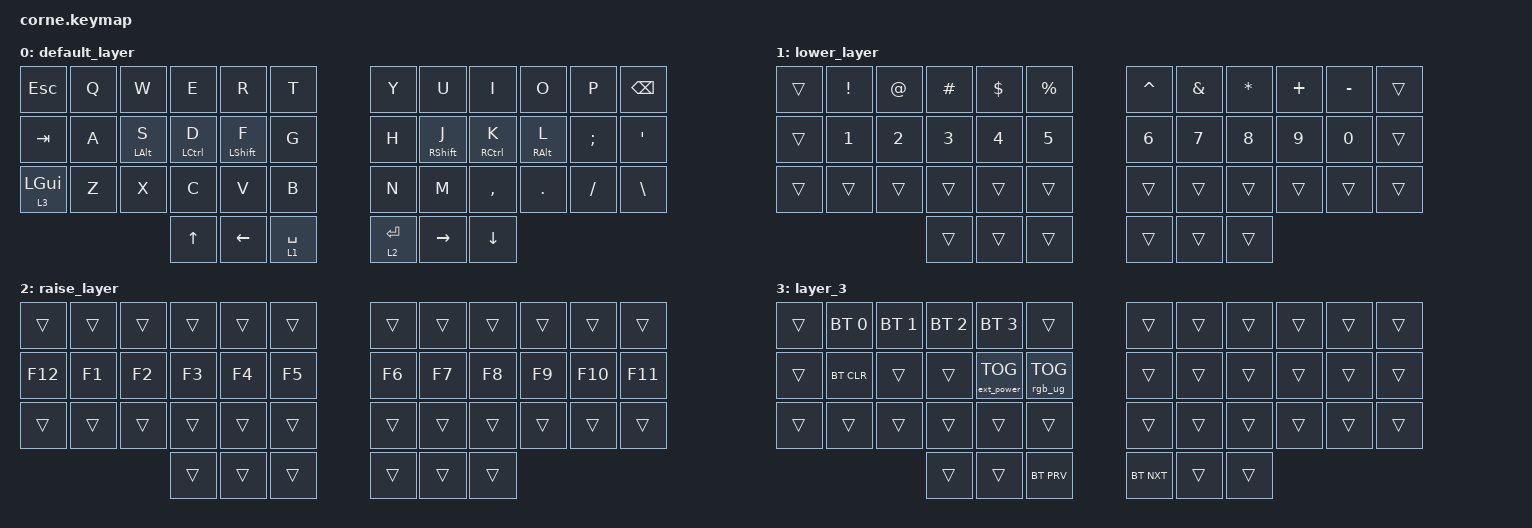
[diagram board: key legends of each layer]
/*
 * Copyright (c) 2020 The ZMK Contributors
 *
 * SPDX-License-Identifier: MIT
 */

#include <behaviors.dtsi>
#include <dt-bindings/zmk/bt.h>
#include <dt-bindings/zmk/keys.h>
#include <dt-bindings/zmk/rgb.h>
#include <dt-bindings/zmk/ext_power.h>
/ {
    behaviors {
        hm: homerow_mods {
            compatible = "zmk,behavior-hold-tap";
            label = "HOMEROW_MODS";
            #binding-cells = <2>;
            tapping-term-ms = <200>;
            quick_tap_ms = <0>;
            flavor = "tap-preferred";
            bindings = <&kp>, <&kp>;

            quick-tap-ms = <180>;
            global-quick-tap;
        };

        ltq: ltq {
            compatible = "zmk,behavior-hold-tap";
            label = "LTQ";
            bindings = <&mo>, <&kp>;

            #binding-cells = <2>;
            tapping-term-ms = <600>;
            global-quick-tap;
            quick-tap-ms = <400>;
        };
    };

    combos {
        compatible = "zmk,combos";

        left_bkt {
            bindings = <&kp LEFT_BRACKET>;
            key-positions = <4 3>;
            timeout-ms = <50>;
        };

        right_bkt {
            bindings = <&kp RBKT>;
            key-positions = <7 8>;
            timeout-ms = <50>;
        };

        left_par {
            bindings = <&kp LEFT_PARENTHESIS>;
            key-positions = <15 16>;
            timeout-ms = <50>;
        };

        right_par {
            bindings = <&kp RIGHT_PARENTHESIS>;
            key-positions = <19 20>;
            timeout-ms = <50>;
        };

        left_brace {
            bindings = <&kp LEFT_BRACE>;
            key-positions = <27 28>;
            timeout-ms = <50>;
        };

        right_brace {
            bindings = <&kp RIGHT_BRACE>;
            key-positions = <32 31>;
            timeout-ms = <50>;
        };

        equal {
            bindings = <&kp EQUAL>;
            key-positions = <16 19>;
            timeout-ms = <50>;
        };

        plus {
            bindings = <&kp PLUS>;
            key-positions = <4 7>;
            timeout-ms = <50>;
        };

        minus {
            bindings = <&kp MINUS>;
            key-positions = <28 31>;
            timeout-ms = <50>;
        };

        star {
            bindings = <&kp STAR>;
            key-positions = <3 8>;
            timeout-ms = <50>;
        };

        bac {
            bindings = <&kp BACKSLASH>;
            key-positions = <15 20>;
            timeout-ms = <50>;
        };

        pipe {
            bindings = <&kp PIPE>;
            key-positions = <27 32>;
            timeout-ms = <50>;
        };

        under {
            bindings = <&kp UNDER>;
            key-positions = <17 18>;
            timeout-ms = <50>;
        };

        tilde {
            bindings = <&kp TILDE>;
            key-positions = <5 6>;
            timeout-ms = <50>;
        };

    };

    keymap {
        compatible = "zmk,keymap";

        default_layer {
            bindings = <
&kp ESC     &kp Q           &kp W           &kp E        &kp R             &kp T             &kp Y        &kp U             &kp I           &kp O            &kp P               &kp BSPC
&kp TAB     &kp A           &hm LEFT_ALT S  &hm LCTRL D  &hm LEFT_SHIFT F  &kp G             &kp H        &hm RSHIFT J      &hm RCTRL K     &hm RIGHT_ALT L  &kp SEMICOLON       &kp SQT
&lt 3 LGUI  &kp Z           &kp X           &kp C        &kp V             &kp B             &kp N        &kp M             &kp COMMA       &kp DOT          &kp FSLH            &kp BSLH
                                            &kp UP       &kp LEFT          &lt 1 SPACE       &lt 2 ENTER  &kp RIGHT         &kp DOWN
            >;
        };

        lower_layer {
            bindings = <
&trans    &kp EXCL  &kp AT  &kp HASH  &kp DLLR  &kp PRCNT       &kp CARET   &kp AMPS   &kp STAR   &kp PLUS   &kp MINUS   &trans
&trans    &kp N1    &kp N2  &kp N3    &kp N4    &kp N5          &kp N6      &kp N7     &kp N8     &kp N9     &kp N0      &trans
&trans    &trans    &trans  &trans    &trans    &trans          &trans      &trans     &trans     &trans     &trans      &trans
                            &trans    &trans    &trans          &trans      &trans     &trans
            >;
        };

        raise_layer {
            bindings = <
&trans  &trans  &trans  &trans  &trans  &trans          &trans  &trans  &trans  &trans  &trans  &trans
&kp F12 &kp F1  &kp F2  &kp F3  &kp F4  &kp F5          &kp F6  &kp F7  &kp F8  &kp F9  &kp F10 &kp F11
&trans  &trans  &trans  &trans  &trans  &trans          &trans  &trans  &trans  &trans  &trans  &trans
                        &trans  &trans  &trans          &trans  &trans  &trans
            >;
        };

        layer_3 {
            bindings = <
&trans  &bt BT_SEL 0  &bt BT_SEL 1  &bt BT_SEL 2  &bt BT_SEL 3          &trans                  &trans      &trans  &trans  &trans  &trans  &trans
&trans  &bt BT_CLR    &trans        &trans        &ext_power EP_TOG     &rgb_ug RGB_TOG         &trans      &trans  &trans  &trans  &trans  &trans
&trans  &trans        &trans        &trans        &trans                &trans                  &trans      &trans  &trans  &trans  &trans  &trans
                                    &trans        &trans                &bt BT_PRV              &bt BT_NXT  &trans  &trans
            >;
        };
        extra1 {
            status = "reserved";
        };
        extra2 {
            status = "reserved";
        };
        extra3 {
            status = "reserved";
        };
        extra4 {
            status = "reserved";
        };

    };
};
